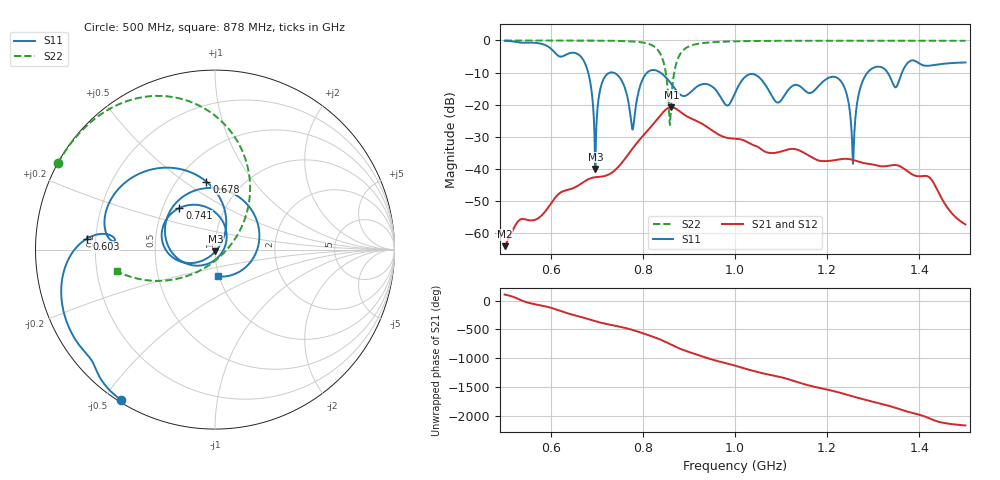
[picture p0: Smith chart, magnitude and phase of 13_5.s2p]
! TOUCHSTONE file generated by CST MICROWAVE STUDIO
! Date and time: Mon Nov 30 08:36:43 2020
! Project name: Scenario_1_Planar_Body_Tissue_Out_of_Line.cst
! Parameters = {dy1=-138.4; L_HA=400; Ltissue=700; MT=2.54; Rad_Dielectric=30; Rad_Lower=7.3; Rad_Upper=30; Wtissue=700; a_HA=580; a_WG=246; b_HA=500; b_WG=121; c_HA=0; c_WG=187; d_feed=85; dx1=866; h_feed=15; h_lower=18; h_upper=40; hfat=3; hgap=25; hmuscle=50; hskin=1.5}
! Header version: 2018
! Port assignment regex: !\s*Touchstone port\s*([0-9]+)\s*=\s*(CST MWS port|CST DS port)\s*([0-9]+|Zmin|Zmax)\s*\(\"(.*)\"\)(\s*mode\s*([0-9]+))?.*
! Touchstone port assignment:
! Touchstone port 1 = CST MWS port 1 ("")
! Touchstone port 2 = CST MWS port 2 ("")
# GHz S DB R 50
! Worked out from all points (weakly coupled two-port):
!   1003 points, 500 MHz to 1.5 GHz, reference 50 ohm
!   highest |S21| = -20.73 dB at 862 MHz (marker M1); lowest = -63.9 dB at 500 MHz (marker M2)
!   lowest |S11| = -39.9 dB at 697 MHz (marker M3), VSWR 1.02, Z = 50.3 - j0.975 ohm
!   |S11| at or under -10 dB: 681.4 MHz to 728.7 MHz (47.34 MHz wide, 6.71 % of centre); 736 MHz to 809.3 MHz (73.36 MHz wide, 9.49 % of centre); 838.1 MHz to 1.288 GHz (449.5 MHz wide, 42.3 % of centre) (the widest 3 of 4)
!   |S22| runs from -26.3 to 0.0 dB; largest |S21 - S12| = 1.1e-05
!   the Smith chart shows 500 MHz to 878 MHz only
!   S11 on the Smith chart (normalised r, x): 500 MHz: 0.01, -0.55; 603 MHz: 0.16, +0.04; 678 MHz: 0.69, +0.61; 741 MHz: 0.61, +0.31; 878 MHz: 0.99, -0.30
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0.5  -0.11 -122.1  -63.94 103.2  -63.94 103.2  -0.01 151.2
0.603  -2.88 175.2  -50.20 -130.9  -50.20 -130.9  -0.02 143.9
0.667  -5.28 123.2  -44.42 72.4  -44.42 72.4  -0.04 138.4
0.678  -8.37 97.2  -43.41 46.7  -43.41 46.7  -0.05 137.3
0.697  -39.95 -74.7  -42.51 0.9  -42.51 0.9  -0.06 135.2
0.713  -12.58 -168.3  -42.28 -31.5  -42.27 -31.5  -0.08 133.3
0.741  -10.32 130.5  -40.13 -77.0  -40.13 -77.0  -0.14 129.2
0.778  -27.69 -43.0  -33.55 -150.0  -33.55 -150.0  -0.33 121.1
0.801  -11.67 175.9  -29.52 151.1  -29.52 151.1  -0.67 112.4
0.834  -9.64 73.0  -24.03 57.6  -24.03 57.6  -3.24 84.6
0.862  -13.53 -18.6  -20.73 -46.3  -20.73 -46.3  -18.01 -121.6
0.878  -16.45 -84.0  -21.83 -105.6  -21.83 -105.6  -5.05 -167.5
1  -16.33 108.1  -30.53 -45.6  -30.53 -45.6  -0.27 140.3
1.033  -10.47 -5.0  -32.08 -122.5  -32.08 -122.5  -0.19 136.3
1.091  -19.26 150.7  -34.85 130.9  -34.85 130.9  -0.13 130.6
1.127  -13.96 -10.6  -33.73 50.8  -33.73 50.8  -0.11 127.5
1.167  -16.13 166.6  -36.33 -41.8  -36.33 -41.8  -0.10 124.3
1.228  -12.36 -1.8  -36.94 -155.0  -36.94 -155.0  -0.09 119.6
1.256  -38.32 16.3  -37.14 140.6  -37.14 140.6  -0.08 117.5
1.282  -11.18 55.2  -38.18 85.5  -38.18 85.5  -0.09 115.5
1.334  -10.66 -19.3  -38.94 -21.1  -38.94 -21.1  -0.08 111.6
1.5  -6.85 -46.1  -57.17 -0.3  -57.17 -0.3  -0.13 98.0
